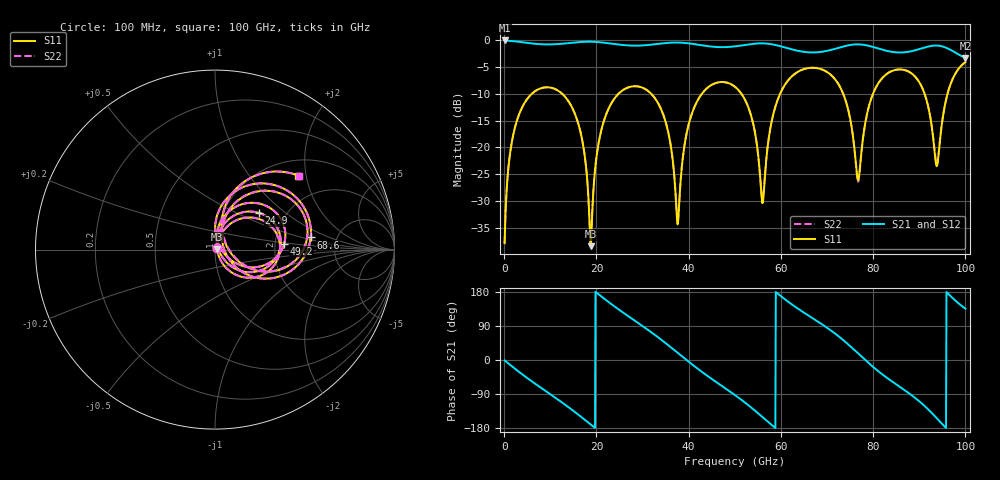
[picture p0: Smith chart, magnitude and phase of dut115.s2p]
! Touchstone file exported from HFSS 2026.1.0
!  File:  C:/ffzhzh/LocalFiles/Ansys_Project_Files/temp_train_TSV_RDL_115_1783636132_33328.aedt
!  Generated:  06:37:16 AM Jul 10, 2026
!  Design:  TSV_RDL
!  Project:  temp_train_TSV_RDL_115_1783636132_33328
! Variables:
!  h_bsmrdl = 3.66um
!  h_ox = 20um
!  h_rdl = 5um
!  h_sub = 78.63um
!  h_tmrdl = 3.93um
!  h_tsv = 78.63um
!  h_via = 3um
!  l_bsmrdl = 255.04um
!  l_sub = 2908.98um
!  l_tmrdl = 400.46um
!  m_sub = 200um
!  pitch = 47.98um
!  r_tsv = 14.26um
!  s_tmrdl = 10um
!  w_bsmrdl = 21.21um
!  w_sub = 500um
!  w_tmrdl = 26.13um
!  x_tsv_center1 = 413.525um
!  x_tsv_center2 = 689.775um
!  x_tsv_center3 = 1116.365um
!  x_tsv_center4 = 1392.615um
!  x_tsv_center5 = 1819.205um
!  x_tsv_center6 = 2095.455um
# GHz S MA R 50.000000
! Terminal data exported
! Port[1] = TM_RDL1_1_T1
! Port[2] = TM_RDL5_1_T1
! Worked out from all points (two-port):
!   1000 points, 100 MHz to 100 GHz, reference 50 ohm
!   highest |S21| = -0.09 dB at 100 MHz (marker M1); lowest = -3.4 dB at 100 GHz (marker M2)
!   |S21| within 3 dB of the highest: start of sweep to 99.37 GHz
!   lowest |S11| = -38.4 dB at 18.8 GHz (marker M3), VSWR 1.02, Z = 51.2 + j0.392 ohm
!   |S11| at or under -10 dB: 12.57 GHz to 24.82 GHz (12.25 GHz wide, 65.5 % of centre); 31.87 GHz to 42.88 GHz (11.01 GHz wide, 29.5 % of centre); 51.43 GHz to 59.84 GHz (8.41 GHz wide, 15.1 % of centre) (the widest 3 of 6)
!   |S22| runs from -37.9 to -4.1 dB; largest |S21 - S12| = 1.7e-14
!   S11 on the Smith chart (normalised r, x): 100 MHz: 1.02, +0.02; 24.9 GHz: 1.47, +0.67; 49.2 GHz: 2.25, +0.18; 68.6 GHz: 3.19, +0.61; 100 GHz: 1.35, +1.81
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0.1  0.01286 36.4  0.9898 -1.1  0.9898 -1.1  0.01286 36.4
! Gamma 0 0 0 0
! Port Impedance 50 0 50 0
1.9  0.1267 64.5  0.9771 -18.7  0.9771 -18.7  0.1267 64.5
5.5  0.3001 34.5  0.9338 -52.0  0.9338 -52.0  0.3001 34.5
16.8  0.1244 -58.2  0.9594 -151.1  0.9594 -151.1  0.1244 -57.8
18.8  0.01205 18.5  0.9634 -170.4  0.9634 -170.4  0.01273 18.2
20.9  0.135 72.6  0.9512 169.3  0.9512 169.3  0.1352 72.4
24.9  0.3188 40.0  0.9057 132.8  0.9057 132.8  0.3189 39.9
33.4  0.2569 -28.8  0.9196 59.7  0.9196 59.7  0.2569 -28.7
37.6  0.01922 14.0  0.9465 19.2  0.9465 19.2  0.01997 14.3
41.3  0.2403 68.0  0.9143 -16.9  0.9143 -16.9  0.2404 67.9
49.2  0.3873 4.9  0.8644 -85.3  0.8644 -85.3  0.3873 4.9
50.1  0.3652 -2.2  0.8725 -93.1  0.8725 -93.1  0.3652 -2.2
56  0.0302 25.9  0.9303 -150.4  0.9303 -150.4  0.03089 26.0
59.5  0.2922 77.0  0.8841 173.4  0.8841 173.4  0.2924 76.8
66.7  0.5511 21.1  0.7655 111.6  0.7655 111.6  0.5512 21.0
68.6  0.5372 7.2  0.7736 96.7  0.7736 96.7  0.5372 7.1
73.7  0.3002 -32.2  0.8729 50.7  0.8729 50.7  0.3001 -32.4
76.7  0.0495 11.8  0.9106 17.8  0.9106 17.8  0.04801 11.7
83.4  0.4975 36.6  0.7845 -50.6  0.7845 -50.6  0.4975 36.8
90.2  0.3912 -15.8  0.8274 -111.0  0.8274 -111.0  0.3914 -15.4
93.8  0.06684 24.9  0.8872 -153.7  0.8872 -153.7  0.06963 25.0
100  0.6209 41.6  0.6792 135.4  0.6792 135.4  0.6212 41.5
